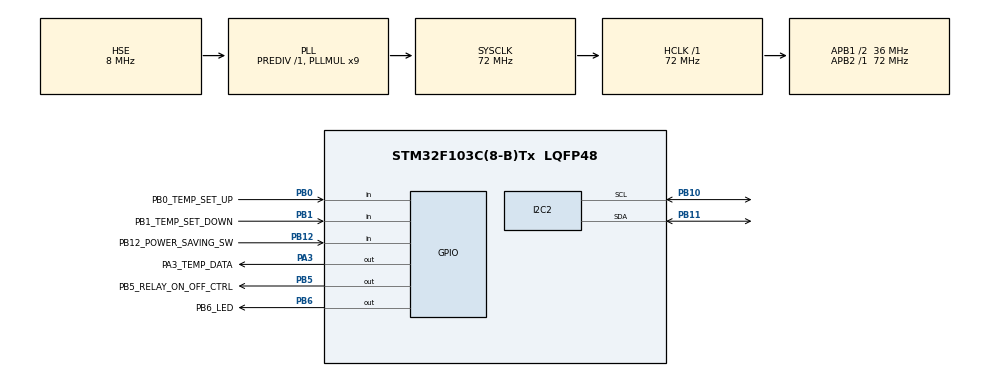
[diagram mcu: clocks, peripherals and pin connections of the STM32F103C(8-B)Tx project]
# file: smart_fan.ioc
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I2C2.I2C_Mode=I2C_Fast
Mcu.Family=STM32F1
Mcu.Name=STM32F103C(8-B)Tx
Mcu.Package=LQFP48
NVIC.PriorityGroup=NVIC_PRIORITYGROUP_4
NVIC.TIM2_IRQn=true\:0\:0\:false\:false\:true\:true\:true\:true
PA3.GPIO_Label=PA3_TEMP_DATA
PA3.GPIO_PuPd=GPIO_PULLUP
PA3.GPIO_Speed=GPIO_SPEED_FREQ_HIGH
PA3.PinState=GPIO_PIN_SET
PA3.Signal=GPIO_Output
PB0.GPIO_Label=PB0_TEMP_SET_UP
PB0.GPIO_PuPd=GPIO_PULLUP
PB0.Signal=GPIO_Input
PB1.GPIO_Label=PB1_TEMP_SET_DOWN
PB1.GPIO_PuPd=GPIO_PULLUP
PB1.Signal=GPIO_Input
PB10.Mode=I2C
PB10.Signal=I2C2_SCL
PB11.Mode=I2C
PB11.Signal=I2C2_SDA
PB12.GPIO_Label=PB12_POWER_SAVING_SW
PB12.GPIO_PuPd=GPIO_PULLUP
PB12.Signal=GPIO_Input
PB5.GPIO_Label=PB5_RELAY_ON_OFF_CTRL
PB5.GPIO_PuPd=GPIO_PULLDOWN
PB5.GPIO_Speed=GPIO_SPEED_FREQ_HIGH
PB5.PinState=GPIO_PIN_RESET
PB5.Signal=GPIO_Output
PB6.GPIO_Label=PB6_LED
PB6.GPIO_PuPd=GPIO_PULLUP
PB6.GPIO_Speed=GPIO_SPEED_FREQ_HIGH
PB6.PinState=GPIO_PIN_SET
PB6.Signal=GPIO_Output
PC14-OSC32_IN.Mode=LSE-External-Oscillator
PC14-OSC32_IN.Signal=RCC_OSC32_IN
PC15-OSC32_OUT.Mode=LSE-External-Oscillator
PC15-OSC32_OUT.Signal=RCC_OSC32_OUT
PD0-OSC_IN.Mode=HSE-External-Oscillator
PD0-OSC_IN.Signal=RCC_OSC_IN
PD1-OSC_OUT.Mode=HSE-External-Oscillator
PD1-OSC_OUT.Signal=RCC_OSC_OUT
ProjectManager.HeapSize=0x200
ProjectManager.StackSize=0x400
ProjectManager.TargetToolchain=STM32CubeIDE
RCC.AHBFreq_Value=72000000
RCC.APB1CLKDivider=RCC_HCLK_DIV2
RCC.APB1Freq_Value=36000000
RCC.APB1TimFreq_Value=72000000
RCC.APB2Freq_Value=72000000
RCC.APB2TimFreq_Value=72000000
RCC.HCLKFreq_Value=72000000
RCC.PLLMUL=RCC_PLL_MUL9
RCC.PLLSourceVirtual=RCC_PLLSOURCE_HSE
RCC.SYSCLKFreq_VALUE=72000000
RCC.SYSCLKSource=RCC_SYSCLKSOURCE_PLLCLK
RCC.USBFreq_Value=72000000
TIM2.AutoReloadPreload=TIM_AUTORELOAD_PRELOAD_DISABLE
TIM2.Period=0xffff
TIM2.Prescaler=(72-1)
VP_TIM2_VS_ClockSourceINT.Mode=Internal
board=custom

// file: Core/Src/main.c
/* USER CODE BEGIN Header */
/**
  ******************************************************************************
  * @file           : main.c
  * @brief          : Main program body
  ******************************************************************************
  * @attention
  *
  * Copyright (c) 2025 STMicroelectronics.
  * All rights reserved.
  *
  * This software is licensed under terms that can be found in the LICENSE file
  * in the root directory of this software component.
  * If no LICENSE file comes with this software, it is provided AS-IS.
  *
  ******************************************************************************
  */
/* USER CODE END Header */
#include "main.h"

/* USER CODE BEGIN Includes */
#include "ds18b20.h"
#include "fonts.h"
#include "ssd1306.h"
#include "test.h"
#include "bitmap.h"
#include "horse_anim.h"
/* USER CODE END Includes */

I2C_HandleTypeDef hi2c2;

TIM_HandleTypeDef htim2;

void SystemClock_Config(void);
static void MX_GPIO_Init(void);
static void MX_TIM2_Init(void);
static void MX_I2C2_Init(void);

/* USER CODE BEGIN 0 */
	int real_temp = 0; //temperature in this place now
	int operating_temp = 30; //operating temperature, user can set this value
	int power_saving_mode = 0; //0: fan can work, 1: fan can't work
/* USER CODE END 0 */

int main(void)
{

  /* MCU Configuration--------------------------------------------------------*/

  /* Reset of all peripherals, Initializes the Flash interface and the Systick. */
  HAL_Init();

  /* Configure the system clock */
  SystemClock_Config();

  /* Initialize all configured peripherals */
  MX_GPIO_Init();
  MX_TIM2_Init();
  MX_I2C2_Init();
  /* USER CODE BEGIN 2 */
  Ds18b20_Init();
  SSD1306_Init();

  //boot screen
  SSD1306_DrawBitmap(0, 0, logo, 128, 64, 1);
  SSD1306_UpdateScreen(); //display
  HAL_Delay(3000);
  SSD1306_Clear();

  /* USER CODE END 2 */

  /* Infinite loop */
  /* USER CODE BEGIN WHILE */
  while (1)
  {
	  Ds18b20_ManualConvert(); //get temperature from temperature sensor

	  real_temp = (int)ds18b20[0].Temperature;//get temperature

	  if(!HAL_GPIO_ReadPin(PB0_TEMP_SET_UP_GPIO_Port, PB0_TEMP_SET_UP_Pin)) { //set up button is pushed?
		  operating_temp++; //operating temperature 1 up
	  }

	  if(!HAL_GPIO_ReadPin(PB1_TEMP_SET_DOWN_GPIO_Port, PB1_TEMP_SET_DOWN_Pin)) { //set down button is pushed?
		  operating_temp--; //operating temperature 1 down
	  }

	  if(HAL_GPIO_ReadPin(PB12_POWER_SAVING_SW_GPIO_Port, PB12_POWER_SAVING_SW_Pin)) { //power saving switch on?
		  power_saving_mode = 1; //set power saving mode
	  }
	  else {
		  power_saving_mode = 0; //set normal mode
	  }

	  if(real_temp >= operating_temp && power_saving_mode == 0) { //Is it hotter than the operating temperature?
		  HAL_GPIO_WritePin(PB6_LED_GPIO_Port, PB6_LED_Pin, 0); //turn on the LED
		  HAL_GPIO_WritePin(PB5_RELAY_ON_OFF_CTRL_GPIO_Port, PB5_RELAY_ON_OFF_CTRL_Pin, 1); //turn on the fan
	  }
	  else {
		  HAL_GPIO_WritePin(PB6_LED_GPIO_Port, PB6_LED_Pin, 1);//turn on the LED
		  HAL_GPIO_WritePin(PB5_RELAY_ON_OFF_CTRL_GPIO_Port, PB5_RELAY_ON_OFF_CTRL_Pin, 0); //turn off the fan
	  }

	  //display screen
	  char buf1[30]; sprintf(buf1, "Temperature: %d 'C", real_temp);
	  char buf2[30]; sprintf(buf2, "Operating: %d 'C", operating_temp);
	  char buf3[30]; if(power_saving_mode == 1){ sprintf(buf3, "Power saving: On "); } else { sprintf(buf3, "Power saving: Off"); }
	  char buf4[30]; if(real_temp >= operating_temp && power_saving_mode == 0){ sprintf(buf4, "Fan: On "); } else { sprintf(buf4, "Fan: Off"); }

	  SSD1306_GotoXY(0,0);
	  SSD1306_Puts(buf1, &Font_7x10, 1);
	  SSD1306_GotoXY(0,15);
	  SSD1306_Puts(buf2, &Font_7x10, 1);
	  SSD1306_GotoXY(0,30);
	  SSD1306_Puts(buf3, &Font_7x10, 1);
	  SSD1306_GotoXY(0,45);
	  SSD1306_Puts(buf4, &Font_7x10, 1);
	  SSD1306_UpdateScreen(); //display

    /* USER CODE END WHILE */

  }
}

void SystemClock_Config(void)
{
  RCC_OscInitTypeDef RCC_OscInitStruct = {0};
  RCC_ClkInitTypeDef RCC_ClkInitStruct = {0};

  /** Initializes the RCC Oscillators according to the specified parameters
  * in the RCC_OscInitTypeDef structure.
  */
  RCC_OscInitStruct.OscillatorType = RCC_OSCILLATORTYPE_HSE;
  RCC_OscInitStruct.HSEState = RCC_HSE_ON;
  RCC_OscInitStruct.HSEPredivValue = RCC_HSE_PREDIV_DIV1;
  RCC_OscInitStruct.HSIState = RCC_HSI_ON;
  RCC_OscInitStruct.PLL.PLLState = RCC_PLL_ON;
  RCC_OscInitStruct.PLL.PLLSource = RCC_PLLSOURCE_HSE;
  RCC_OscInitStruct.PLL.PLLMUL = RCC_PLL_MUL9;
  if (HAL_RCC_OscConfig(&RCC_OscInitStruct) != HAL_OK)
  {
    Error_Handler();
  }

  /** Initializes the CPU, AHB and APB buses clocks
  */
  RCC_ClkInitStruct.ClockType = RCC_CLOCKTYPE_HCLK|RCC_CLOCKTYPE_SYSCLK
                              |RCC_CLOCKTYPE_PCLK1|RCC_CLOCKTYPE_PCLK2;
  RCC_ClkInitStruct.SYSCLKSource = RCC_SYSCLKSOURCE_PLLCLK;
  RCC_ClkInitStruct.AHBCLKDivider = RCC_SYSCLK_DIV1;
  RCC_ClkInitStruct.APB1CLKDivider = RCC_HCLK_DIV2;
  RCC_ClkInitStruct.APB2CLKDivider = RCC_HCLK_DIV1;

  if (HAL_RCC_ClockConfig(&RCC_ClkInitStruct, FLASH_LATENCY_2) != HAL_OK)
  {
    Error_Handler();
  }
}

static void MX_I2C2_Init(void)
{

  hi2c2.Instance = I2C2;
  hi2c2.Init.ClockSpeed = 400000;
  hi2c2.Init.DutyCycle = I2C_DUTYCYCLE_2;
  hi2c2.Init.OwnAddress1 = 0;
  hi2c2.Init.AddressingMode = I2C_ADDRESSINGMODE_7BIT;
  hi2c2.Init.DualAddressMode = I2C_DUALADDRESS_DISABLE;
  hi2c2.Init.OwnAddress2 = 0;
  hi2c2.Init.GeneralCallMode = I2C_GENERALCALL_DISABLE;
  hi2c2.Init.NoStretchMode = I2C_NOSTRETCH_DISABLE;
  if (HAL_I2C_Init(&hi2c2) != HAL_OK)
  {
    Error_Handler();
  }

}

static void MX_TIM2_Init(void)
{

  TIM_ClockConfigTypeDef sClockSourceConfig = {0};
  TIM_MasterConfigTypeDef sMasterConfig = {0};

  htim2.Instance = TIM2;
  htim2.Init.Prescaler = (72-1);
  htim2.Init.CounterMode = TIM_COUNTERMODE_UP;
  htim2.Init.Period = 0xffff;
  htim2.Init.ClockDivision = TIM_CLOCKDIVISION_DIV1;
  htim2.Init.AutoReloadPreload = TIM_AUTORELOAD_PRELOAD_DISABLE;
  if (HAL_TIM_Base_Init(&htim2) != HAL_OK)
  {
    Error_Handler();
  }
  sClockSourceConfig.ClockSource = TIM_CLOCKSOURCE_INTERNAL;
  if (HAL_TIM_ConfigClockSource(&htim2, &sClockSourceConfig) != HAL_OK)
  {
    Error_Handler();
  }
  sMasterConfig.MasterOutputTrigger = TIM_TRGO_RESET;
  sMasterConfig.MasterSlaveMode = TIM_MASTERSLAVEMODE_DISABLE;
  if (HAL_TIMEx_MasterConfigSynchronization(&htim2, &sMasterConfig) != HAL_OK)
  {
    Error_Handler();
  }

}

static void MX_GPIO_Init(void)
{
  GPIO_InitTypeDef GPIO_InitStruct = {0};

  /* GPIO Ports Clock Enable */
  __HAL_RCC_GPIOC_CLK_ENABLE();
  __HAL_RCC_GPIOD_CLK_ENABLE();
  __HAL_RCC_GPIOA_CLK_ENABLE();
  __HAL_RCC_GPIOB_CLK_ENABLE();

  /*Configure GPIO pin Output Level */
  HAL_GPIO_WritePin(PA3_TEMP_DATA_GPIO_Port, PA3_TEMP_DATA_Pin, GPIO_PIN_SET);

  /*Configure GPIO pin Output Level */
  HAL_GPIO_WritePin(PB5_RELAY_ON_OFF_CTRL_GPIO_Port, PB5_RELAY_ON_OFF_CTRL_Pin, GPIO_PIN_RESET);

  /*Configure GPIO pin Output Level */
  HAL_GPIO_WritePin(PB6_LED_GPIO_Port, PB6_LED_Pin, GPIO_PIN_SET);

  /*Configure GPIO pin : PA3_TEMP_DATA_Pin */
  GPIO_InitStruct.Pin = PA3_TEMP_DATA_Pin;
  GPIO_InitStruct.Mode = GPIO_MODE_OUTPUT_PP;
  GPIO_InitStruct.Pull = GPIO_PULLUP;
  GPIO_InitStruct.Speed = GPIO_SPEED_FREQ_HIGH;
  HAL_GPIO_Init(PA3_TEMP_DATA_GPIO_Port, &GPIO_InitStruct);

  /*Configure GPIO pins : PB0_TEMP_SET_UP_Pin PB1_TEMP_SET_DOWN_Pin PB12_POWER_SAVING_SW_Pin */
  GPIO_InitStruct.Pin = PB0_TEMP_SET_UP_Pin|PB1_TEMP_SET_DOWN_Pin|PB12_POWER_SAVING_SW_Pin;
  GPIO_InitStruct.Mode = GPIO_MODE_INPUT;
  GPIO_InitStruct.Pull = GPIO_PULLUP;
  HAL_GPIO_Init(GPIOB, &GPIO_InitStruct);

  /*Configure GPIO pin : PB5_RELAY_ON_OFF_CTRL_Pin */
  GPIO_InitStruct.Pin = PB5_RELAY_ON_OFF_CTRL_Pin;
  GPIO_InitStruct.Mode = GPIO_MODE_OUTPUT_PP;
  GPIO_InitStruct.Pull = GPIO_PULLDOWN;
  GPIO_InitStruct.Speed = GPIO_SPEED_FREQ_HIGH;
  HAL_GPIO_Init(PB5_RELAY_ON_OFF_CTRL_GPIO_Port, &GPIO_InitStruct);

  /*Configure GPIO pin : PB6_LED_Pin */
  GPIO_InitStruct.Pin = PB6_LED_Pin;
  GPIO_InitStruct.Mode = GPIO_MODE_OUTPUT_PP;
  GPIO_InitStruct.Pull = GPIO_PULLUP;
  GPIO_InitStruct.Speed = GPIO_SPEED_FREQ_HIGH;
  HAL_GPIO_Init(PB6_LED_GPIO_Port, &GPIO_InitStruct);

}

void Error_Handler(void)
{
  __disable_irq();
  while (1)
  {
  }
}
